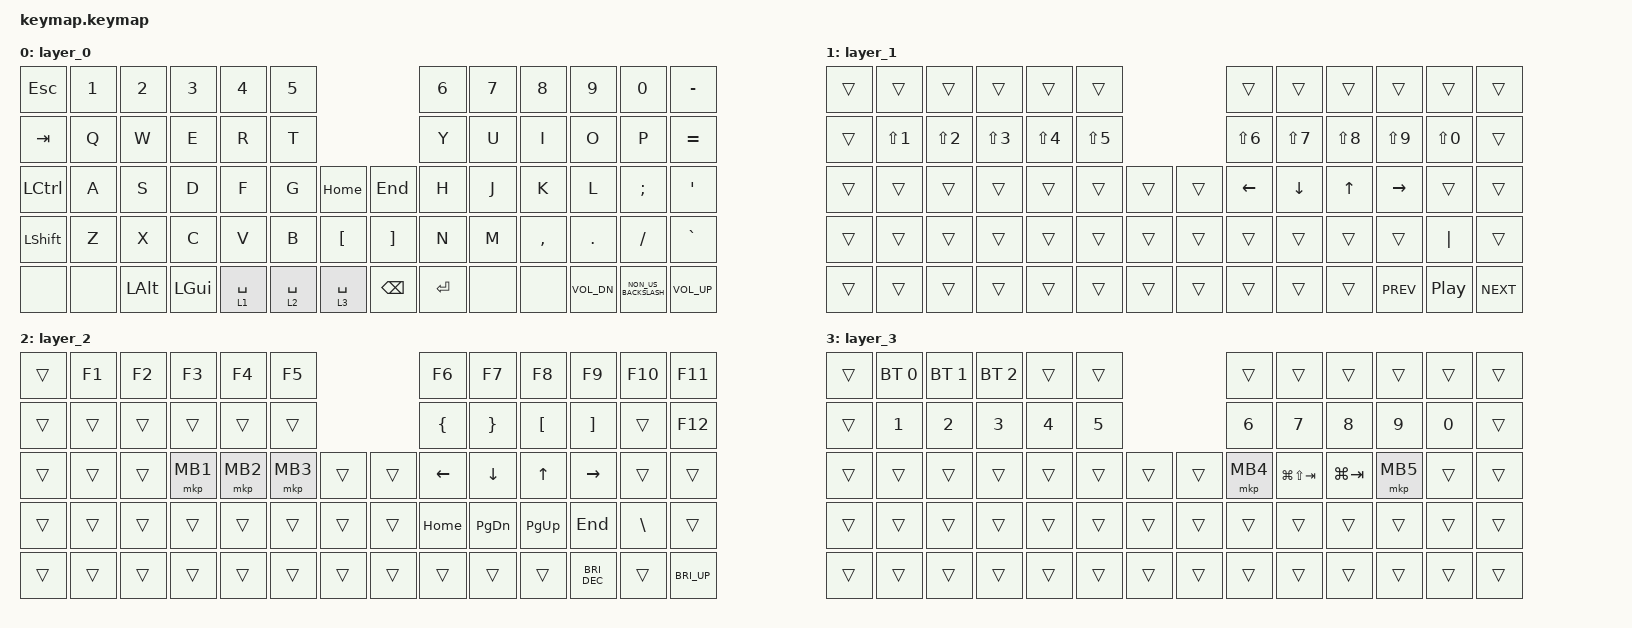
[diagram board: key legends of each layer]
#include <behaviors.dtsi>
#include <dt-bindings/zmk/bt.h>
#include <dt-bindings/zmk/keys.h>
#include <dt-bindings/zmk/pointing.h>

/ {
    combos {
        compatible = "zmk,combos";

        bt_clear {
            bindings = <&bt BT_CLR>;
            key-positions = <28 29>;
            layers = <3>;
        };
    };

    keymap {
        compatible = "zmk,keymap";

        layer_0 {
            bindings = <
&kp ESC           &kp N1  &kp N2        &kp N3        &kp N4       &kp N5                                            &kp N6     &kp N7  &kp N8     &kp N9        &kp N0                &kp MINUS
&kp TAB           &kp Q   &kp W         &kp E         &kp R        &kp T                                             &kp Y      &kp U   &kp I      &kp O         &kp P                 &kp EQUAL
&kp LEFT_CONTROL  &kp A   &kp S         &kp D         &kp F        &kp G        &kp HOME          &kp END            &kp H      &kp J   &kp K      &kp L         &kp SEMI              &kp SQT
&kp LSHFT         &kp Z   &kp X         &kp C         &kp V        &kp B        &kp LEFT_BRACKET  &kp RIGHT_BRACKET  &kp N      &kp M   &kp COMMA  &kp DOT       &kp SLASH             &kp GRAVE
&none             &none   &kp LEFT_ALT  &kp LEFT_GUI  &lt 1 SPACE  &lt 2 SPACE  &lt 3 SPACE       &kp BACKSPACE      &kp ENTER  &none   &none      &kp C_VOL_DN  &kp NON_US_BACKSLASH  &kp C_VOL_UP
            >;
        };

        layer_1 {
            bindings = <
&trans  &trans            &trans            &trans            &trans            &trans                      &trans            &trans          &trans        &trans           &trans      &trans
&trans  &kp LS(NUMBER_1)  &kp LS(NUMBER_2)  &kp LS(NUMBER_3)  &kp LS(NUMBER_4)  &kp LS(N5)                  &kp LS(NUMBER_6)  &kp LS(N7)      &kp LS(N8)    &kp LS(N9)       &kp LS(N0)  &trans
&trans  &trans            &trans            &trans            &trans            &trans      &trans  &trans  &kp LEFT_ARROW    &kp DOWN_ARROW  &kp UP_ARROW  &kp RIGHT_ARROW  &trans      &trans
&trans  &trans            &trans            &trans            &trans            &trans      &trans  &trans  &trans            &trans          &trans        &trans           &kp PIPE    &trans
&trans  &trans            &trans            &trans            &trans            &trans      &trans  &trans  &trans            &trans          &trans        &kp C_PREV       &kp C_PP    &kp C_NEXT
            >;
        };

        layer_2 {
            bindings = <
&trans  &kp F1  &kp F2  &kp F3    &kp F4    &kp F5                    &kp F6          &kp F7           &kp F8            &kp F9             &kp F10        &kp F11
&trans  &trans  &trans  &trans    &trans    &trans                    &kp LEFT_BRACE  &kp RIGHT_BRACE  &kp LEFT_BRACKET  &kp RIGHT_BRACKET  &trans         &kp F12
&trans  &trans  &trans  &mkp MB1  &mkp MB2  &mkp MB3  &trans  &trans  &kp LEFT_ARROW  &kp DOWN_ARROW   &kp UP_ARROW      &kp RIGHT_ARROW    &trans         &trans
&trans  &trans  &trans  &trans    &trans    &trans    &trans  &trans  &kp HOME        &kp PAGE_DOWN    &kp PAGE_UP       &kp END            &kp BACKSLASH  &trans
&trans  &trans  &trans  &trans    &trans    &trans    &trans  &trans  &trans          &trans           &trans            &kp C_BRI_DEC      &trans         &kp C_BRI_UP
            >;
        };

        layer_3 {
            bindings = <
&trans  &bt BT_SEL 0  &bt BT_SEL 1  &bt BT_SEL 2  &trans        &trans                  &trans        &trans           &trans       &trans    &trans  &trans
&trans  &kp NUMBER_1  &kp NUMBER_2  &kp NUMBER_3  &kp NUMBER_4  &kp N5                  &kp NUMBER_6  &kp N7           &kp N8       &kp N9    &kp N0  &trans
&trans  &trans        &trans        &trans        &trans        &trans  &trans  &trans  &mkp MB4      &kp LG(LS(TAB))  &kp LG(TAB)  &mkp MB5  &trans  &trans
&trans  &trans        &trans        &trans        &trans        &trans  &trans  &trans  &trans        &trans           &trans       &trans    &trans  &trans
&trans  &trans        &trans        &trans        &trans        &trans  &trans  &trans  &trans        &trans           &trans       &trans    &trans  &trans
            >;
        };
    };
};
